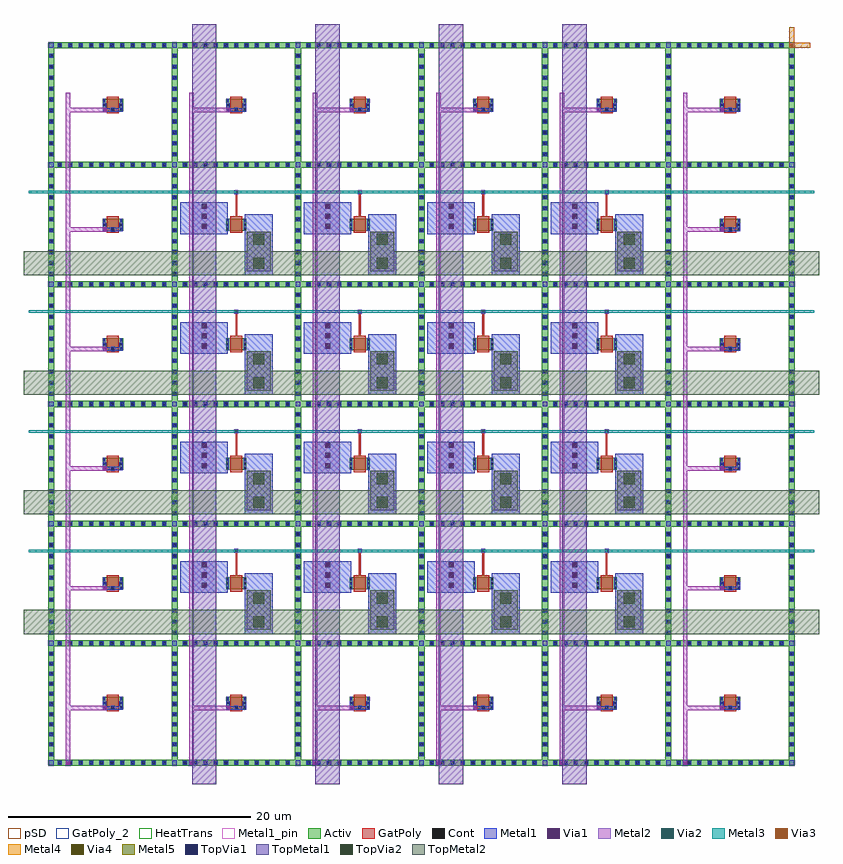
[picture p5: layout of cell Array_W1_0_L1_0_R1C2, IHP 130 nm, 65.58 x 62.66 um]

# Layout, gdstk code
import gdstk
lib = gdstk.Library(unit=1e-6, precision=1e-09)
def R(c, l, rs):  # rectangles x0, y0, x1, y1
    for r in rs: c.add(gdstk.rectangle(r[:2], r[2:], *l))
def A(c, l, x, y, w, h, nx, ny, dx, dy):  # array of equal rectangles
    R(c, l, [(x+i*dx, y+j*dy, x+i*dx+w, y+j*dy+h) for i in range(nx) for j in range(ny)])
Activ = (1, 0)
GatPoly = (5, 0)
GatPoly_2 = (5, 2)
Cont = (6, 0)
Metal1 = (8, 0)
Metal1_pin = (8, 2)
Metal2 = (10, 0)
pSD = (14, 0)
Via1 = (19, 0)
Via2 = (29, 0)
Metal3 = (30, 0)
Via3 = (49, 0)
Metal4 = (50, 0)
HeatTrans = (51, 0)
Via4 = (66, 0)
Metal5 = (67, 0)
TopVia1 = (125, 0)
TopMetal1 = (126, 0)
TopVia2 = (133, 0)
TopMetal2 = (134, 0)

array_w1_0_l1_0_r1c2 = lib.new_cell('Array_W1_0_L1_0_R1C2')
A(array_w1_0_l1_0_r1c2, Activ, 0, 0, 0.5, 59.66, 7, 1, 10.18, 0)
A(array_w1_0_l1_0_r1c2, Activ, 0, 0, 61.58, 0.5, 1, 7, 0, 9.86)
A(array_w1_0_l1_0_r1c2, Activ, 4.5, 4.68, 0.3, 0.3, 1, 6, 0, 9.86)
A(array_w1_0_l1_0_r1c2, Activ, 4.5, 4.68, 1.68, 1, 6, 6, 10.18, 9.86)
A(array_w1_0_l1_0_r1c2, Activ, 5.88, 4.68, 0.3, 0.3, 1, 6, 0, 9.86)
A(array_w1_0_l1_0_r1c2, Activ, 14.68, 4.68, 0.3, 0.3, 1, 6, 0, 9.86)
A(array_w1_0_l1_0_r1c2, Activ, 16.06, 4.68, 0.3, 0.3, 1, 6, 0, 9.86)
A(array_w1_0_l1_0_r1c2, Activ, 24.86, 4.68, 0.3, 0.3, 1, 6, 0, 9.86)
A(array_w1_0_l1_0_r1c2, Activ, 26.24, 4.68, 0.3, 0.3, 1, 6, 0, 9.86)
A(array_w1_0_l1_0_r1c2, Activ, 35.04, 4.68, 0.3, 0.3, 1, 6, 0, 9.86)
A(array_w1_0_l1_0_r1c2, Activ, 36.42, 4.68, 0.3, 0.3, 1, 6, 0, 9.86)
A(array_w1_0_l1_0_r1c2, Activ, 45.22, 4.68, 0.3, 0.3, 1, 6, 0, 9.86)
A(array_w1_0_l1_0_r1c2, Activ, 46.6, 4.68, 0.3, 0.3, 1, 6, 0, 9.86)
A(array_w1_0_l1_0_r1c2, Activ, 55.4, 4.68, 0.3, 0.3, 1, 6, 0, 9.86)
A(array_w1_0_l1_0_r1c2, Activ, 56.78, 4.68, 0.3, 0.3, 1, 6, 0, 9.86)
A(array_w1_0_l1_0_r1c2, GatPoly, 4.84, 4.5, 1, 1.36, 6, 6, 10.18, 9.86)
A(array_w1_0_l1_0_r1c2, GatPoly, 5.275, 4.78, 0.13, 0.2, 6, 2, 10.18, 49.3)
A(array_w1_0_l1_0_r1c2, GatPoly, 5.275, 14.64, 0.13, 0.2, 1, 4, 0, 9.86)
A(array_w1_0_l1_0_r1c2, GatPoly, 56.175, 14.64, 0.13, 0.2, 1, 4, 0, 9.86)
A(array_w1_0_l1_0_r1c2, GatPoly, 15.455, 15.72, 0.13, 2, 4, 4, 10.18, 9.86)
A(array_w1_0_l1_0_r1c2, GatPoly_2, 4.84, 4.5, 1, 1.36, 6, 6, 10.18, 9.86)
A(array_w1_0_l1_0_r1c2, Cont, 0.86, 0.14, 0.22, 0.22, 11, 7, 0.86, 9.86)
A(array_w1_0_l1_0_r1c2, Cont, 11.18, 0.14, 0.22, 0.22, 11, 7, 0.846, 9.86)
A(array_w1_0_l1_0_r1c2, Cont, 21.36, 0.14, 0.22, 0.22, 11, 7, 0.846, 9.86)
A(array_w1_0_l1_0_r1c2, Cont, 31.54, 0.14, 0.22, 0.22, 11, 7, 0.846, 9.86)
A(array_w1_0_l1_0_r1c2, Cont, 41.72, 0.14, 0.22, 0.22, 11, 7, 0.846, 9.86)
A(array_w1_0_l1_0_r1c2, Cont, 51.9, 0.14, 0.22, 0.22, 11, 7, 0.846, 9.86)
A(array_w1_0_l1_0_r1c2, Cont, 0.14, 0.83, 0.22, 0.22, 7, 11, 10.18, 0.831)
A(array_w1_0_l1_0_r1c2, Cont, 5.23, 4.67, 0.22, 0.22, 6, 2, 10.18, 49.3)
A(array_w1_0_l1_0_r1c2, Cont, 4.57, 4.75, 0.16, 0.16, 1, 3, 0, 0.35)
A(array_w1_0_l1_0_r1c2, Cont, 5.95, 4.75, 0.16, 0.16, 1, 3, 0, 0.35)
A(array_w1_0_l1_0_r1c2, Cont, 14.75, 4.75, 0.16, 0.16, 1, 3, 0, 0.35)
A(array_w1_0_l1_0_r1c2, Cont, 16.13, 4.75, 0.16, 0.16, 1, 3, 0, 0.35)
A(array_w1_0_l1_0_r1c2, Cont, 24.93, 4.75, 0.16, 0.16, 1, 3, 0, 0.35)
A(array_w1_0_l1_0_r1c2, Cont, 26.31, 4.75, 0.16, 0.16, 1, 3, 0, 0.35)
A(array_w1_0_l1_0_r1c2, Cont, 35.11, 4.75, 0.16, 0.16, 1, 3, 0, 0.35)
A(array_w1_0_l1_0_r1c2, Cont, 36.49, 4.75, 0.16, 0.16, 1, 3, 0, 0.35)
A(array_w1_0_l1_0_r1c2, Cont, 45.29, 4.75, 0.16, 0.16, 1, 3, 0, 0.35)
A(array_w1_0_l1_0_r1c2, Cont, 46.67, 4.75, 0.16, 0.16, 1, 3, 0, 0.35)
A(array_w1_0_l1_0_r1c2, Cont, 55.47, 4.75, 0.16, 0.16, 1, 3, 0, 0.35)
A(array_w1_0_l1_0_r1c2, Cont, 56.85, 4.75, 0.16, 0.16, 1, 3, 0, 0.35)
A(array_w1_0_l1_0_r1c2, Cont, 0.14, 10.86, 0.22, 0.22, 7, 3, 10.18, 0.904)
A(array_w1_0_l1_0_r1c2, Cont, 0.14, 13.573, 0.22, 0.22, 7, 2, 10.18, 0.904)
A(array_w1_0_l1_0_r1c2, Cont, 5.23, 14.53, 0.22, 0.22, 1, 4, 0, 9.86)
A(array_w1_0_l1_0_r1c2, Cont, 56.13, 14.53, 0.22, 0.22, 1, 4, 0, 9.86)
A(array_w1_0_l1_0_r1c2, Cont, 4.57, 14.61, 0.16, 0.16, 1, 3, 0, 0.35)
A(array_w1_0_l1_0_r1c2, Cont, 5.95, 14.61, 0.16, 0.16, 1, 3, 0, 0.35)
A(array_w1_0_l1_0_r1c2, Cont, 14.75, 14.61, 0.16, 0.16, 1, 3, 0, 0.35)
A(array_w1_0_l1_0_r1c2, Cont, 16.13, 14.61, 0.16, 0.16, 1, 3, 0, 0.35)
A(array_w1_0_l1_0_r1c2, Cont, 24.93, 14.61, 0.16, 0.16, 1, 3, 0, 0.35)
A(array_w1_0_l1_0_r1c2, Cont, 26.31, 14.61, 0.16, 0.16, 1, 3, 0, 0.35)
A(array_w1_0_l1_0_r1c2, Cont, 35.11, 14.61, 0.16, 0.16, 1, 3, 0, 0.35)
A(array_w1_0_l1_0_r1c2, Cont, 36.49, 14.61, 0.16, 0.16, 1, 3, 0, 0.35)
A(array_w1_0_l1_0_r1c2, Cont, 45.29, 14.61, 0.16, 0.16, 1, 3, 0, 0.35)
A(array_w1_0_l1_0_r1c2, Cont, 46.67, 14.61, 0.16, 0.16, 1, 3, 0, 0.35)
A(array_w1_0_l1_0_r1c2, Cont, 55.47, 14.61, 0.16, 0.16, 1, 3, 0, 0.35)
A(array_w1_0_l1_0_r1c2, Cont, 56.85, 14.61, 0.16, 0.16, 1, 3, 0, 0.35)
A(array_w1_0_l1_0_r1c2, Cont, 0.14, 15.382, 0.22, 0.22, 7, 2, 10.18, 0.904)
A(array_w1_0_l1_0_r1c2, Cont, 0.14, 17.191, 0.22, 0.22, 7, 2, 10.18, 0.904)
A(array_w1_0_l1_0_r1c2, Cont, 15.41, 17.61, 0.22, 0.22, 4, 4, 10.18, 9.86)
A(array_w1_0_l1_0_r1c2, Cont, 0.14, 19, 0.22, 0.22, 7, 2, 10.18, 1.72)
A(array_w1_0_l1_0_r1c2, Cont, 0.14, 21.624, 0.22, 0.22, 7, 2, 10.18, 0.904)
A(array_w1_0_l1_0_r1c2, Cont, 0.14, 23.433, 0.22, 0.22, 7, 2, 10.18, 0.904)
A(array_w1_0_l1_0_r1c2, Cont, 4.57, 24.47, 0.16, 0.16, 1, 3, 0, 0.35)
A(array_w1_0_l1_0_r1c2, Cont, 5.95, 24.47, 0.16, 0.16, 1, 3, 0, 0.35)
A(array_w1_0_l1_0_r1c2, Cont, 14.75, 24.47, 0.16, 0.16, 1, 3, 0, 0.35)
A(array_w1_0_l1_0_r1c2, Cont, 16.13, 24.47, 0.16, 0.16, 1, 3, 0, 0.35)
A(array_w1_0_l1_0_r1c2, Cont, 24.93, 24.47, 0.16, 0.16, 1, 3, 0, 0.35)
A(array_w1_0_l1_0_r1c2, Cont, 26.31, 24.47, 0.16, 0.16, 1, 3, 0, 0.35)
A(array_w1_0_l1_0_r1c2, Cont, 35.11, 24.47, 0.16, 0.16, 1, 3, 0, 0.35)
A(array_w1_0_l1_0_r1c2, Cont, 36.49, 24.47, 0.16, 0.16, 1, 3, 0, 0.35)
A(array_w1_0_l1_0_r1c2, Cont, 45.29, 24.47, 0.16, 0.16, 1, 3, 0, 0.35)
A(array_w1_0_l1_0_r1c2, Cont, 46.67, 24.47, 0.16, 0.16, 1, 3, 0, 0.35)
A(array_w1_0_l1_0_r1c2, Cont, 55.47, 24.47, 0.16, 0.16, 1, 3, 0, 0.35)
A(array_w1_0_l1_0_r1c2, Cont, 56.85, 24.47, 0.16, 0.16, 1, 3, 0, 0.35)
A(array_w1_0_l1_0_r1c2, Cont, 0.14, 25.242, 0.22, 0.22, 7, 2, 10.18, 0.904)
A(array_w1_0_l1_0_r1c2, Cont, 0.14, 27.051, 0.22, 0.22, 7, 2, 10.18, 0.904)
A(array_w1_0_l1_0_r1c2, Cont, 0.14, 28.86, 0.22, 0.22, 7, 2, 10.18, 1.72)
A(array_w1_0_l1_0_r1c2, Cont, 0.14, 31.484, 0.22, 0.22, 7, 2, 10.18, 0.904)
A(array_w1_0_l1_0_r1c2, Cont, 0.14, 33.293, 0.22, 0.22, 7, 2, 10.18, 0.904)
A(array_w1_0_l1_0_r1c2, Cont, 4.57, 34.33, 0.16, 0.16, 1, 3, 0, 0.35)
A(array_w1_0_l1_0_r1c2, Cont, 5.95, 34.33, 0.16, 0.16, 1, 3, 0, 0.35)
A(array_w1_0_l1_0_r1c2, Cont, 14.75, 34.33, 0.16, 0.16, 1, 3, 0, 0.35)
A(array_w1_0_l1_0_r1c2, Cont, 16.13, 34.33, 0.16, 0.16, 1, 3, 0, 0.35)
A(array_w1_0_l1_0_r1c2, Cont, 24.93, 34.33, 0.16, 0.16, 1, 3, 0, 0.35)
A(array_w1_0_l1_0_r1c2, Cont, 26.31, 34.33, 0.16, 0.16, 1, 3, 0, 0.35)
A(array_w1_0_l1_0_r1c2, Cont, 35.11, 34.33, 0.16, 0.16, 1, 3, 0, 0.35)
A(array_w1_0_l1_0_r1c2, Cont, 36.49, 34.33, 0.16, 0.16, 1, 3, 0, 0.35)
A(array_w1_0_l1_0_r1c2, Cont, 45.29, 34.33, 0.16, 0.16, 1, 3, 0, 0.35)
A(array_w1_0_l1_0_r1c2, Cont, 46.67, 34.33, 0.16, 0.16, 1, 3, 0, 0.35)
A(array_w1_0_l1_0_r1c2, Cont, 55.47, 34.33, 0.16, 0.16, 1, 3, 0, 0.35)
A(array_w1_0_l1_0_r1c2, Cont, 56.85, 34.33, 0.16, 0.16, 1, 3, 0, 0.35)
A(array_w1_0_l1_0_r1c2, Cont, 0.14, 35.102, 0.22, 0.22, 7, 2, 10.18, 0.904)
A(array_w1_0_l1_0_r1c2, Cont, 0.14, 36.911, 0.22, 0.22, 7, 2, 10.18, 0.904)
A(array_w1_0_l1_0_r1c2, Cont, 0.14, 38.72, 0.22, 0.22, 7, 2, 10.18, 1.72)
A(array_w1_0_l1_0_r1c2, Cont, 0.14, 41.344, 0.22, 0.22, 7, 2, 10.18, 0.904)
A(array_w1_0_l1_0_r1c2, Cont, 0.14, 43.153, 0.22, 0.22, 7, 2, 10.18, 0.904)
A(array_w1_0_l1_0_r1c2, Cont, 4.57, 44.19, 0.16, 0.16, 1, 3, 0, 0.35)
A(array_w1_0_l1_0_r1c2, Cont, 5.95, 44.19, 0.16, 0.16, 1, 3, 0, 0.35)
A(array_w1_0_l1_0_r1c2, Cont, 14.75, 44.19, 0.16, 0.16, 1, 3, 0, 0.35)
A(array_w1_0_l1_0_r1c2, Cont, 16.13, 44.19, 0.16, 0.16, 1, 3, 0, 0.35)
A(array_w1_0_l1_0_r1c2, Cont, 24.93, 44.19, 0.16, 0.16, 1, 3, 0, 0.35)
A(array_w1_0_l1_0_r1c2, Cont, 26.31, 44.19, 0.16, 0.16, 1, 3, 0, 0.35)
A(array_w1_0_l1_0_r1c2, Cont, 35.11, 44.19, 0.16, 0.16, 1, 3, 0, 0.35)
A(array_w1_0_l1_0_r1c2, Cont, 36.49, 44.19, 0.16, 0.16, 1, 3, 0, 0.35)
A(array_w1_0_l1_0_r1c2, Cont, 45.29, 44.19, 0.16, 0.16, 1, 3, 0, 0.35)
A(array_w1_0_l1_0_r1c2, Cont, 46.67, 44.19, 0.16, 0.16, 1, 3, 0, 0.35)
A(array_w1_0_l1_0_r1c2, Cont, 55.47, 44.19, 0.16, 0.16, 1, 3, 0, 0.35)
A(array_w1_0_l1_0_r1c2, Cont, 56.85, 44.19, 0.16, 0.16, 1, 3, 0, 0.35)
A(array_w1_0_l1_0_r1c2, Cont, 0.14, 44.962, 0.22, 0.22, 7, 2, 10.18, 0.904)
A(array_w1_0_l1_0_r1c2, Cont, 0.14, 46.771, 0.22, 0.22, 7, 2, 10.18, 0.904)
A(array_w1_0_l1_0_r1c2, Cont, 0.14, 48.58, 0.22, 0.22, 7, 2, 10.18, 1.72)
A(array_w1_0_l1_0_r1c2, Cont, 0.14, 51.204, 0.22, 0.22, 7, 2, 10.18, 0.904)
A(array_w1_0_l1_0_r1c2, Cont, 0.14, 53.013, 0.22, 0.22, 7, 2, 10.18, 0.904)
A(array_w1_0_l1_0_r1c2, Cont, 4.57, 54.05, 0.16, 0.16, 1, 3, 0, 0.35)
A(array_w1_0_l1_0_r1c2, Cont, 5.95, 54.05, 0.16, 0.16, 1, 3, 0, 0.35)
A(array_w1_0_l1_0_r1c2, Cont, 14.75, 54.05, 0.16, 0.16, 1, 3, 0, 0.35)
A(array_w1_0_l1_0_r1c2, Cont, 16.13, 54.05, 0.16, 0.16, 1, 3, 0, 0.35)
A(array_w1_0_l1_0_r1c2, Cont, 24.93, 54.05, 0.16, 0.16, 1, 3, 0, 0.35)
A(array_w1_0_l1_0_r1c2, Cont, 26.31, 54.05, 0.16, 0.16, 1, 3, 0, 0.35)
A(array_w1_0_l1_0_r1c2, Cont, 35.11, 54.05, 0.16, 0.16, 1, 3, 0, 0.35)
A(array_w1_0_l1_0_r1c2, Cont, 36.49, 54.05, 0.16, 0.16, 1, 3, 0, 0.35)
A(array_w1_0_l1_0_r1c2, Cont, 45.29, 54.05, 0.16, 0.16, 1, 3, 0, 0.35)
A(array_w1_0_l1_0_r1c2, Cont, 46.67, 54.05, 0.16, 0.16, 1, 3, 0, 0.35)
A(array_w1_0_l1_0_r1c2, Cont, 55.47, 54.05, 0.16, 0.16, 1, 3, 0, 0.35)
A(array_w1_0_l1_0_r1c2, Cont, 56.85, 54.05, 0.16, 0.16, 1, 3, 0, 0.35)
A(array_w1_0_l1_0_r1c2, Cont, 0.14, 54.822, 0.22, 0.22, 7, 2, 10.18, 0.904)
A(array_w1_0_l1_0_r1c2, Cont, 0.14, 56.631, 0.22, 0.22, 7, 2, 10.18, 0.904)
A(array_w1_0_l1_0_r1c2, Cont, 0.14, 58.44, 0.22, 0.22, 7, 1, 10.18, 0)
A(array_w1_0_l1_0_r1c2, Metal1, 0.8, 0.08, 0.34, 0.34, 11, 7, 0.86, 9.86)
A(array_w1_0_l1_0_r1c2, Metal1, 11.12, 0.08, 0.34, 0.34, 11, 7, 0.846, 9.86)
A(array_w1_0_l1_0_r1c2, Metal1, 21.3, 0.08, 0.34, 0.34, 11, 7, 0.846, 9.86)
A(array_w1_0_l1_0_r1c2, Metal1, 31.48, 0.08, 0.34, 0.34, 11, 7, 0.846, 9.86)
A(array_w1_0_l1_0_r1c2, Metal1, 41.66, 0.08, 0.34, 0.34, 11, 7, 0.846, 9.86)
A(array_w1_0_l1_0_r1c2, Metal1, 51.84, 0.08, 0.34, 0.34, 11, 7, 0.846, 9.86)
A(array_w1_0_l1_0_r1c2, Metal1, 0.08, 0.77, 0.34, 0.34, 7, 11, 10.18, 0.831)
A(array_w1_0_l1_0_r1c2, Metal1, 5.17, 4.61, 0.34, 0.34, 6, 2, 10.18, 49.3)
A(array_w1_0_l1_0_r1c2, Metal1, 4.51, 4.64, 0.28, 0.68, 1, 6, 0, 9.86)
A(array_w1_0_l1_0_r1c2, Metal1, 4.51, 4.64, 1.66, 0.28, 6, 2, 10.18, 49.3)
A(array_w1_0_l1_0_r1c2, Metal1, 5.89, 4.64, 0.28, 0.68, 1, 6, 0, 9.86)
A(array_w1_0_l1_0_r1c2, Metal1, 55.41, 4.64, 0.28, 0.68, 1, 6, 0, 9.86)
A(array_w1_0_l1_0_r1c2, Metal1, 56.79, 4.64, 0.28, 0.68, 1, 6, 0, 9.86)
A(array_w1_0_l1_0_r1c2, Metal1, 4.57, 4.68, 0.16, 1, 1, 6, 0, 9.86)
A(array_w1_0_l1_0_r1c2, Metal1, 5.95, 4.68, 0.16, 1, 1, 6, 0, 9.86)
A(array_w1_0_l1_0_r1c2, Metal1, 14.75, 4.68, 0.16, 1, 1, 6, 0, 9.86)
A(array_w1_0_l1_0_r1c2, Metal1, 16.13, 4.68, 0.16, 1, 1, 6, 0, 9.86)
A(array_w1_0_l1_0_r1c2, Metal1, 24.93, 4.68, 0.16, 1, 1, 6, 0, 9.86)
A(array_w1_0_l1_0_r1c2, Metal1, 26.31, 4.68, 0.16, 1, 1, 6, 0, 9.86)
A(array_w1_0_l1_0_r1c2, Metal1, 35.11, 4.68, 0.16, 1, 1, 6, 0, 9.86)
A(array_w1_0_l1_0_r1c2, Metal1, 36.49, 4.68, 0.16, 1, 1, 6, 0, 9.86)
A(array_w1_0_l1_0_r1c2, Metal1, 45.29, 4.68, 0.16, 1, 1, 6, 0, 9.86)
A(array_w1_0_l1_0_r1c2, Metal1, 46.67, 4.68, 0.16, 1, 1, 6, 0, 9.86)
A(array_w1_0_l1_0_r1c2, Metal1, 55.47, 4.68, 0.16, 1, 1, 6, 0, 9.86)
A(array_w1_0_l1_0_r1c2, Metal1, 56.85, 4.68, 0.16, 1, 1, 6, 0, 9.86)
A(array_w1_0_l1_0_r1c2, Metal1, 0.05, 9.91, 0.4, 0.4, 7, 6, 10.18, 9.86)
A(array_w1_0_l1_0_r1c2, Metal1, 0.08, 10.8, 0.34, 0.34, 7, 3, 10.18, 0.904)
A(array_w1_0_l1_0_r1c2, Metal1, 16.21, 10.86, 2.32, 5.02, 4, 4, 10.18, 9.86)
A(array_w1_0_l1_0_r1c2, Metal1, 0.08, 13.513, 0.34, 0.34, 7, 2, 10.18, 0.904)
A(array_w1_0_l1_0_r1c2, Metal1, 10.91, 14.26, 3.92, 2.61, 4, 4, 10.18, 9.86)
A(array_w1_0_l1_0_r1c2, Metal1, 5.17, 14.47, 0.34, 0.34, 1, 4, 0, 9.86)
A(array_w1_0_l1_0_r1c2, Metal1, 56.07, 14.47, 0.34, 0.34, 1, 4, 0, 9.86)
A(array_w1_0_l1_0_r1c2, Metal1, 4.51, 14.5, 1.66, 0.28, 1, 4, 0, 9.86)
A(array_w1_0_l1_0_r1c2, Metal1, 55.41, 14.5, 1.66, 0.28, 1, 4, 0, 9.86)
A(array_w1_0_l1_0_r1c2, Metal1, 0.08, 15.322, 0.34, 0.34, 7, 2, 10.18, 0.904)
A(array_w1_0_l1_0_r1c2, Metal1, 0.08, 17.131, 0.34, 0.34, 7, 2, 10.18, 0.904)
A(array_w1_0_l1_0_r1c2, Metal1, 15.36, 17.56, 0.32, 0.32, 4, 4, 10.18, 9.86)
A(array_w1_0_l1_0_r1c2, Metal1, 0.08, 18.94, 0.34, 0.34, 7, 2, 10.18, 1.72)
A(array_w1_0_l1_0_r1c2, Metal1, 0.08, 21.564, 0.34, 0.34, 7, 2, 10.18, 0.904)
A(array_w1_0_l1_0_r1c2, Metal1, 0.08, 23.373, 0.34, 0.34, 7, 2, 10.18, 0.904)
A(array_w1_0_l1_0_r1c2, Metal1, 0.08, 25.182, 0.34, 0.34, 7, 2, 10.18, 0.904)
A(array_w1_0_l1_0_r1c2, Metal1, 0.08, 26.991, 0.34, 0.34, 7, 2, 10.18, 0.904)
A(array_w1_0_l1_0_r1c2, Metal1, 0.08, 28.8, 0.34, 0.34, 7, 2, 10.18, 1.72)
A(array_w1_0_l1_0_r1c2, Metal1, 0.08, 31.424, 0.34, 0.34, 7, 2, 10.18, 0.904)
A(array_w1_0_l1_0_r1c2, Metal1, 0.08, 33.233, 0.34, 0.34, 7, 2, 10.18, 0.904)
A(array_w1_0_l1_0_r1c2, Metal1, 0.08, 35.042, 0.34, 0.34, 7, 2, 10.18, 0.904)
A(array_w1_0_l1_0_r1c2, Metal1, 0.08, 36.851, 0.34, 0.34, 7, 2, 10.18, 0.904)
A(array_w1_0_l1_0_r1c2, Metal1, 0.08, 38.66, 0.34, 0.34, 7, 2, 10.18, 1.72)
A(array_w1_0_l1_0_r1c2, Metal1, 0.08, 41.284, 0.34, 0.34, 7, 2, 10.18, 0.904)
A(array_w1_0_l1_0_r1c2, Metal1, 0.08, 43.093, 0.34, 0.34, 7, 2, 10.18, 0.904)
A(array_w1_0_l1_0_r1c2, Metal1, 0.08, 44.902, 0.34, 0.34, 7, 2, 10.18, 0.904)
A(array_w1_0_l1_0_r1c2, Metal1, 0.08, 46.711, 0.34, 0.34, 7, 2, 10.18, 0.904)
A(array_w1_0_l1_0_r1c2, Metal1, 0.08, 48.52, 0.34, 0.34, 7, 2, 10.18, 1.72)
A(array_w1_0_l1_0_r1c2, Metal1, 0.08, 51.144, 0.34, 0.34, 7, 2, 10.18, 0.904)
A(array_w1_0_l1_0_r1c2, Metal1, 0.08, 52.953, 0.34, 0.34, 7, 2, 10.18, 0.904)
A(array_w1_0_l1_0_r1c2, Metal1, 0.08, 54.762, 0.34, 0.34, 7, 2, 10.18, 0.904)
A(array_w1_0_l1_0_r1c2, Metal1, 0.08, 56.571, 0.34, 0.34, 7, 2, 10.18, 0.904)
A(array_w1_0_l1_0_r1c2, Metal1, 0.08, 58.38, 0.34, 0.34, 7, 1, 10.18, 0)
R(array_w1_0_l1_0_r1c2, Metal1, [(0.05,0.05,0.45,0.45), (1.44,0.05,1.84,0.45), (10.23,0.05,10.63,0.45), (11.62,0.05,12.02,0.45), (20.41,0.05,20.81,0.45), (21.8,0.05,22.2,0.45), (30.59,0.05,30.99,0.45), (31.98,0.05,32.38,0.45), (40.77,0.05,41.17,0.45), (42.16,0.05,42.56,0.45), (50.95,0.05,51.35,0.45), (52.34,0.05,52.74,0.45), (61.13,0.05,61.53,0.45), (14.69,4.64,14.97,5.32), (16.07,4.64,16.35,5.32), (24.87,4.64,25.15,5.32), (26.25,4.64,26.53,5.32), (35.05,4.64,35.33,5.32), (36.43,4.64,36.71,5.32), (45.23,4.64,45.51,5.32), (46.61,4.64,46.89,5.32), (14.69,53.94,14.97,54.62), (16.07,53.94,16.35,54.62), (24.87,53.94,25.15,54.62), (26.25,53.94,26.53,54.62), (35.05,53.94,35.33,54.62), (36.43,53.94,36.71,54.62), (45.23,53.94,45.51,54.62), (46.61,53.94,46.89,54.62)])
A(array_w1_0_l1_0_r1c2, Metal1_pin, 4.57, 4.68, 0.16, 1, 1, 6, 0, 9.86)
A(array_w1_0_l1_0_r1c2, Metal1_pin, 5.95, 4.68, 0.16, 1, 1, 6, 0, 9.86)
A(array_w1_0_l1_0_r1c2, Metal1_pin, 14.75, 4.68, 0.16, 1, 1, 6, 0, 9.86)
A(array_w1_0_l1_0_r1c2, Metal1_pin, 16.13, 4.68, 0.16, 1, 1, 6, 0, 9.86)
A(array_w1_0_l1_0_r1c2, Metal1_pin, 24.93, 4.68, 0.16, 1, 1, 6, 0, 9.86)
A(array_w1_0_l1_0_r1c2, Metal1_pin, 26.31, 4.68, 0.16, 1, 1, 6, 0, 9.86)
A(array_w1_0_l1_0_r1c2, Metal1_pin, 35.11, 4.68, 0.16, 1, 1, 6, 0, 9.86)
A(array_w1_0_l1_0_r1c2, Metal1_pin, 36.49, 4.68, 0.16, 1, 1, 6, 0, 9.86)
A(array_w1_0_l1_0_r1c2, Metal1_pin, 45.29, 4.68, 0.16, 1, 1, 6, 0, 9.86)
A(array_w1_0_l1_0_r1c2, Metal1_pin, 46.67, 4.68, 0.16, 1, 1, 6, 0, 9.86)
A(array_w1_0_l1_0_r1c2, Metal1_pin, 55.47, 4.68, 0.16, 1, 1, 6, 0, 9.86)
A(array_w1_0_l1_0_r1c2, Metal1_pin, 56.85, 4.68, 0.16, 1, 1, 6, 0, 9.86)
A(array_w1_0_l1_0_r1c2, Metal2, 1.46, 0.07, 0.36, 55.41, 6, 1, 10.18, 0)
A(array_w1_0_l1_0_r1c2, Metal2, 1.46, 4.6, 3.37, 0.36, 6, 2, 10.18, 49.3)
A(array_w1_0_l1_0_r1c2, Metal2, 17.215, 11.705, 0.31, 0.31, 4, 2, 10.18, 1.96)
A(array_w1_0_l1_0_r1c2, Metal2, 1.46, 14.46, 3.37, 0.36, 1, 4, 0, 9.86)
A(array_w1_0_l1_0_r1c2, Metal2, 52.36, 14.46, 3.37, 0.36, 1, 4, 0, 9.86)
A(array_w1_0_l1_0_r1c2, Metal2, 12.715, 14.735, 0.31, 0.31, 4, 3, 10.18, 0.84)
A(array_w1_0_l1_0_r1c2, Metal2, 15.375, 17.575, 0.29, 0.29, 4, 4, 10.18, 9.86)
A(array_w1_0_l1_0_r1c2, Metal2, 17.215, 21.565, 0.31, 0.31, 4, 2, 10.18, 1.96)
A(array_w1_0_l1_0_r1c2, Metal2, 12.715, 24.595, 0.31, 0.31, 4, 3, 10.18, 0.84)
A(array_w1_0_l1_0_r1c2, Metal2, 17.215, 31.425, 0.31, 0.31, 4, 2, 10.18, 1.96)
A(array_w1_0_l1_0_r1c2, Metal2, 12.715, 34.455, 0.31, 0.31, 4, 3, 10.18, 0.84)
A(array_w1_0_l1_0_r1c2, Metal2, 17.215, 41.285, 0.31, 0.31, 4, 2, 10.18, 1.96)
A(array_w1_0_l1_0_r1c2, Metal2, 12.715, 44.315, 0.31, 0.31, 4, 3, 10.18, 0.84)
R(array_w1_0_l1_0_r1c2, Metal2, [(61.15,59.23,61.51,59.59)])
A(array_w1_0_l1_0_r1c2, pSD, 0, 0, 0.5, 59.66, 7, 1, 10.18, 0)
A(array_w1_0_l1_0_r1c2, pSD, 0, 0, 61.58, 0.5, 1, 7, 0, 9.86)
A(array_w1_0_l1_0_r1c2, Via1, 1.545, 0.155, 0.19, 0.19, 6, 1, 10.18, 0)
A(array_w1_0_l1_0_r1c2, Via1, 4.555, 4.685, 0.19, 0.19, 6, 2, 10.18, 49.3)
A(array_w1_0_l1_0_r1c2, Via1, 17.275, 11.765, 0.19, 0.19, 4, 2, 10.18, 1.96)
A(array_w1_0_l1_0_r1c2, Via1, 4.555, 14.545, 0.19, 0.19, 1, 4, 0, 9.86)
A(array_w1_0_l1_0_r1c2, Via1, 55.455, 14.545, 0.19, 0.19, 1, 4, 0, 9.86)
A(array_w1_0_l1_0_r1c2, Via1, 12.775, 14.795, 0.19, 0.19, 4, 3, 10.18, 0.84)
A(array_w1_0_l1_0_r1c2, Via1, 15.425, 17.625, 0.19, 0.19, 4, 4, 10.18, 9.86)
A(array_w1_0_l1_0_r1c2, Via1, 17.275, 21.625, 0.19, 0.19, 4, 2, 10.18, 1.96)
A(array_w1_0_l1_0_r1c2, Via1, 12.775, 24.655, 0.19, 0.19, 4, 3, 10.18, 0.84)
A(array_w1_0_l1_0_r1c2, Via1, 17.275, 31.485, 0.19, 0.19, 4, 2, 10.18, 1.96)
A(array_w1_0_l1_0_r1c2, Via1, 12.775, 34.515, 0.19, 0.19, 4, 3, 10.18, 0.84)
A(array_w1_0_l1_0_r1c2, Via1, 17.275, 41.345, 0.19, 0.19, 4, 2, 10.18, 1.96)
A(array_w1_0_l1_0_r1c2, Via1, 12.775, 44.375, 0.19, 0.19, 4, 3, 10.18, 0.84)
R(array_w1_0_l1_0_r1c2, Via1, [(61.235,59.315,61.425,59.505)])
A(array_w1_0_l1_0_r1c2, Via2, 17.275, 11.765, 0.19, 0.19, 4, 2, 10.18, 1.96)
A(array_w1_0_l1_0_r1c2, Via2, 12.775, 14.795, 0.19, 0.19, 4, 3, 10.18, 0.84)
A(array_w1_0_l1_0_r1c2, Via2, 15.425, 17.625, 0.19, 0.19, 4, 4, 10.18, 9.86)
A(array_w1_0_l1_0_r1c2, Via2, 17.275, 21.625, 0.19, 0.19, 4, 2, 10.18, 1.96)
A(array_w1_0_l1_0_r1c2, Via2, 12.775, 24.655, 0.19, 0.19, 4, 3, 10.18, 0.84)
A(array_w1_0_l1_0_r1c2, Via2, 17.275, 31.485, 0.19, 0.19, 4, 2, 10.18, 1.96)
A(array_w1_0_l1_0_r1c2, Via2, 12.775, 34.515, 0.19, 0.19, 4, 3, 10.18, 0.84)
A(array_w1_0_l1_0_r1c2, Via2, 17.275, 41.345, 0.19, 0.19, 4, 2, 10.18, 1.96)
A(array_w1_0_l1_0_r1c2, Via2, 12.775, 44.375, 0.19, 0.19, 4, 3, 10.18, 0.84)
R(array_w1_0_l1_0_r1c2, Via2, [(61.235,59.315,61.425,59.505)])
A(array_w1_0_l1_0_r1c2, Metal3, 17.215, 11.705, 0.31, 0.31, 4, 2, 10.18, 1.96)
A(array_w1_0_l1_0_r1c2, Metal3, 12.715, 14.735, 0.31, 0.31, 4, 3, 10.18, 0.84)
A(array_w1_0_l1_0_r1c2, Metal3, -1.6, 17.62, 64.78, 0.2, 1, 4, 0, 9.86)
A(array_w1_0_l1_0_r1c2, Metal3, 15.42, 17.62, 0.2, 0.2, 4, 4, 10.18, 9.86)
A(array_w1_0_l1_0_r1c2, Metal3, 17.215, 21.565, 0.31, 0.31, 4, 2, 10.18, 1.96)
A(array_w1_0_l1_0_r1c2, Metal3, 12.715, 24.595, 0.31, 0.31, 4, 3, 10.18, 0.84)
A(array_w1_0_l1_0_r1c2, Metal3, 17.215, 31.425, 0.31, 0.31, 4, 2, 10.18, 1.96)
A(array_w1_0_l1_0_r1c2, Metal3, 12.715, 34.455, 0.31, 0.31, 4, 3, 10.18, 0.84)
A(array_w1_0_l1_0_r1c2, Metal3, 17.215, 41.285, 0.31, 0.31, 4, 2, 10.18, 1.96)
A(array_w1_0_l1_0_r1c2, Metal3, 12.715, 44.315, 0.31, 0.31, 4, 3, 10.18, 0.84)
R(array_w1_0_l1_0_r1c2, Metal3, [(61.23,59.31,61.43,59.51)])
A(array_w1_0_l1_0_r1c2, Via3, 17.275, 11.765, 0.19, 0.19, 4, 2, 10.18, 1.96)
A(array_w1_0_l1_0_r1c2, Via3, 12.775, 14.795, 0.19, 0.19, 4, 3, 10.18, 0.84)
A(array_w1_0_l1_0_r1c2, Via3, 17.275, 21.625, 0.19, 0.19, 4, 2, 10.18, 1.96)
A(array_w1_0_l1_0_r1c2, Via3, 12.775, 24.655, 0.19, 0.19, 4, 3, 10.18, 0.84)
A(array_w1_0_l1_0_r1c2, Via3, 17.275, 31.485, 0.19, 0.19, 4, 2, 10.18, 1.96)
A(array_w1_0_l1_0_r1c2, Via3, 12.775, 34.515, 0.19, 0.19, 4, 3, 10.18, 0.84)
A(array_w1_0_l1_0_r1c2, Via3, 17.275, 41.345, 0.19, 0.19, 4, 2, 10.18, 1.96)
A(array_w1_0_l1_0_r1c2, Via3, 12.775, 44.375, 0.19, 0.19, 4, 3, 10.18, 0.84)
R(array_w1_0_l1_0_r1c2, Via3, [(61.235,59.315,61.425,59.505)])
A(array_w1_0_l1_0_r1c2, Metal4, 17.215, 11.705, 0.31, 0.31, 4, 2, 10.18, 1.96)
A(array_w1_0_l1_0_r1c2, Metal4, 12.715, 14.735, 0.31, 0.31, 4, 3, 10.18, 0.84)
A(array_w1_0_l1_0_r1c2, Metal4, 17.215, 21.565, 0.31, 0.31, 4, 2, 10.18, 1.96)
A(array_w1_0_l1_0_r1c2, Metal4, 12.715, 24.595, 0.31, 0.31, 4, 3, 10.18, 0.84)
A(array_w1_0_l1_0_r1c2, Metal4, 17.215, 31.425, 0.31, 0.31, 4, 2, 10.18, 1.96)
A(array_w1_0_l1_0_r1c2, Metal4, 12.715, 34.455, 0.31, 0.31, 4, 3, 10.18, 0.84)
A(array_w1_0_l1_0_r1c2, Metal4, 17.215, 41.285, 0.31, 0.31, 4, 2, 10.18, 1.96)
A(array_w1_0_l1_0_r1c2, Metal4, 12.715, 44.315, 0.31, 0.31, 4, 3, 10.18, 0.84)
R(array_w1_0_l1_0_r1c2, Metal4, [(61.13,59.21,62.83,59.61), (61.13,59.21,61.53,60.91)])
A(array_w1_0_l1_0_r1c2, HeatTrans, 4.84, 4.5, 1, 1.36, 6, 6, 10.18, 9.86)
A(array_w1_0_l1_0_r1c2, Via4, 17.275, 11.765, 0.19, 0.19, 4, 2, 10.18, 1.96)
A(array_w1_0_l1_0_r1c2, Via4, 12.775, 14.795, 0.19, 0.19, 4, 3, 10.18, 0.84)
A(array_w1_0_l1_0_r1c2, Via4, 17.275, 21.625, 0.19, 0.19, 4, 2, 10.18, 1.96)
A(array_w1_0_l1_0_r1c2, Via4, 12.775, 24.655, 0.19, 0.19, 4, 3, 10.18, 0.84)
A(array_w1_0_l1_0_r1c2, Via4, 17.275, 31.485, 0.19, 0.19, 4, 2, 10.18, 1.96)
A(array_w1_0_l1_0_r1c2, Via4, 12.775, 34.515, 0.19, 0.19, 4, 3, 10.18, 0.84)
A(array_w1_0_l1_0_r1c2, Via4, 17.275, 41.345, 0.19, 0.19, 4, 2, 10.18, 1.96)
A(array_w1_0_l1_0_r1c2, Via4, 12.775, 44.375, 0.19, 0.19, 4, 3, 10.18, 0.84)
A(array_w1_0_l1_0_r1c2, Metal5, 17.215, 11.705, 0.31, 0.31, 4, 2, 10.18, 1.96)
A(array_w1_0_l1_0_r1c2, Metal5, 12.715, 14.735, 0.31, 0.31, 4, 3, 10.18, 0.84)
A(array_w1_0_l1_0_r1c2, Metal5, 17.215, 21.565, 0.31, 0.31, 4, 2, 10.18, 1.96)
A(array_w1_0_l1_0_r1c2, Metal5, 12.715, 24.595, 0.31, 0.31, 4, 3, 10.18, 0.84)
A(array_w1_0_l1_0_r1c2, Metal5, 17.215, 31.425, 0.31, 0.31, 4, 2, 10.18, 1.96)
A(array_w1_0_l1_0_r1c2, Metal5, 12.715, 34.455, 0.31, 0.31, 4, 3, 10.18, 0.84)
A(array_w1_0_l1_0_r1c2, Metal5, 17.215, 41.285, 0.31, 0.31, 4, 2, 10.18, 1.96)
A(array_w1_0_l1_0_r1c2, Metal5, 12.715, 44.315, 0.31, 0.31, 4, 3, 10.18, 0.84)
A(array_w1_0_l1_0_r1c2, TopVia1, 17.16, 11.65, 0.42, 0.42, 4, 2, 10.18, 1.96)
A(array_w1_0_l1_0_r1c2, TopVia1, 12.66, 14.68, 0.42, 0.42, 4, 3, 10.18, 0.84)
A(array_w1_0_l1_0_r1c2, TopVia1, 17.16, 21.51, 0.42, 0.42, 4, 2, 10.18, 1.96)
A(array_w1_0_l1_0_r1c2, TopVia1, 12.66, 24.54, 0.42, 0.42, 4, 3, 10.18, 0.84)
A(array_w1_0_l1_0_r1c2, TopVia1, 17.16, 31.37, 0.42, 0.42, 4, 2, 10.18, 1.96)
A(array_w1_0_l1_0_r1c2, TopVia1, 12.66, 34.4, 0.42, 0.42, 4, 3, 10.18, 0.84)
A(array_w1_0_l1_0_r1c2, TopVia1, 17.16, 41.23, 0.42, 0.42, 4, 2, 10.18, 1.96)
A(array_w1_0_l1_0_r1c2, TopVia1, 12.66, 44.26, 0.42, 0.42, 4, 3, 10.18, 0.84)
A(array_w1_0_l1_0_r1c2, TopMetal1, 11.87, -1.5, 2, 62.66, 4, 1, 10.18, 0)
A(array_w1_0_l1_0_r1c2, TopMetal1, 16.37, 11.21, 2, 3.26, 4, 4, 10.18, 9.86)
A(array_w1_0_l1_0_r1c2, TopMetal1, 11.87, 14.58, 2, 2.3, 4, 4, 10.18, 9.86)
A(array_w1_0_l1_0_r1c2, TopVia2, 16.92, 11.41, 0.9, 0.9, 4, 2, 10.18, 1.96)
A(array_w1_0_l1_0_r1c2, TopVia2, 16.92, 21.27, 0.9, 0.9, 4, 2, 10.18, 1.96)
A(array_w1_0_l1_0_r1c2, TopVia2, 16.92, 31.13, 0.9, 0.9, 4, 2, 10.18, 1.96)
A(array_w1_0_l1_0_r1c2, TopVia2, 16.92, 40.99, 0.9, 0.9, 4, 2, 10.18, 1.96)
A(array_w1_0_l1_0_r1c2, TopMetal2, -2, 10.86, 65.58, 2, 1, 4, 0, 9.86)
A(array_w1_0_l1_0_r1c2, TopMetal2, 16.37, 11.21, 2, 3.26, 4, 4, 10.18, 9.86)

lib.write_gds('Array_W1_0_L1_0_R1C2.gds')
